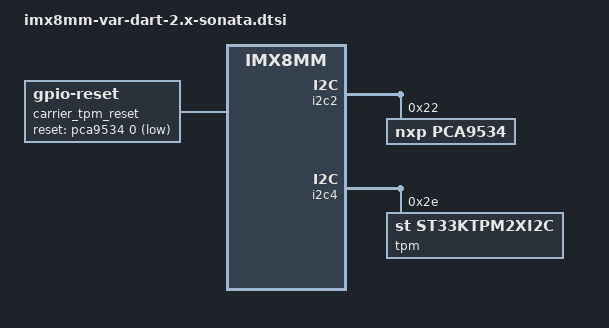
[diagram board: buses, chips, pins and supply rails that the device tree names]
// SPDX-License-Identifier: (GPL-2.0+ OR MIT)
/*
 * Copyright 2019 NXP
 * Copyright 2025 Variscite Ltd.
 */

/ {
	carrier_tpm_reset: carrier-tpm-reset {
		compatible = "gpio-reset";
		#reset-cells = <0>;
		reset-gpios = <&pca9534 0 GPIO_ACTIVE_LOW>;
		initially-in-reset;
	};
};

&i2c2 {
	/* GPIO Expander 3 */
	pca9534: gpio@22 {
		compatible = "nxp,pca9534";
		reg = <0x22>;
		gpio-controller;
		#gpio-cells = <2>;

		/*
		 * RGB_SEL
		 * output-lo: Configure mux for DARTs LVDS
		 * output-hi: Configure mux for DART-MX91 RGB2LVDS
		 */
		rgb_sel {
			gpio-hog;
			gpios = <7 GPIO_ACTIVE_HIGH>;
			output-low;
			line-name = "rgb_sel";
		};
	};
};

&i2c4 {
	/* TPM */
	st33ktpm2xi2c: st33ktpm2xi2c@2e {
		compatible = "st,st33ktpm2xi2c", "tcg,tpm-tis-i2c";
		reg = <0x2e>;
		label = "tpm";
		resets = <&carrier_tpm_reset>;
	};
};
